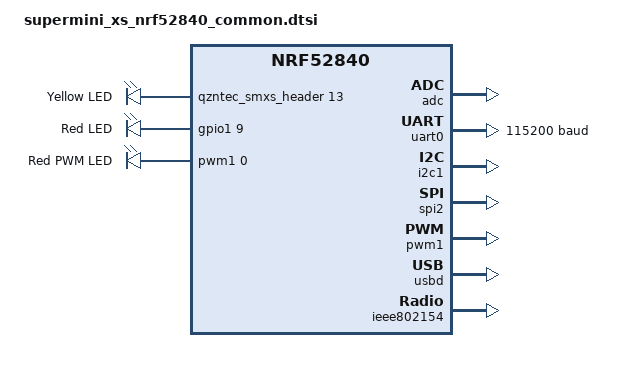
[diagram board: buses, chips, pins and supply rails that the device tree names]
/*
 * Copyright (c) 2024 JensB
 * Copyright (c) 2020 Jefferson Lee
 * SPDX-License-Identifier: Apache-2.0
 */

#include <nordic/nrf52840_qiaa.dtsi>
#include "supermini_xs_nrf52840_pinctrl.dtsi"
#include "supermini_xs_nrf52840_connector.dtsi"

/ {
	chosen {
		zephyr,console = &uart0;
		zephyr,shell-uart = &uart0;
		zephyr,uart-mcumgr = &uart0;
		zephyr,bt-mon-uart = &uart0;
		zephyr,bt-c2h-uart = &uart0;
		zephyr,sram = &sram0;
		zephyr,flash = &flash0;
		zephyr,code-partition = &code_partition;
		zephyr,ieee802154 = &ieee802154;
	};

	leds {
		compatible = "gpio-leds";
		led0: led_0 {
			/* Cannot be used together with SPI2. */
			gpios = <&qzntec_smxs_header 13 0>;
			label = "Yellow LED";
		};
		led1: led_1 {
			gpios = <&gpio1 9 GPIO_ACTIVE_HIGH>;
			label = "Red LED";
		};
	};

	pwmleds {
		compatible = "pwm-leds";
		red_pwm_led: led_pwm_1 {
			pwms = <&pwm1 0 PWM_MSEC(20) PWM_POLARITY_INVERTED>;
			label = "Red PWM LED";
		};
	};

	pwmleds2 {
		compatible = "pwm-leds";
		/* Cannot be used together with SPI2. */
		status = "disabled";
		yellow_pwm_led: led_pwm_0 {
			pwms = <&pwm0 0 PWM_MSEC(20) PWM_POLARITY_NORMAL>;
			label = "Yellow PWM LED";
		};
	};

	/* These aliases are provided for compatibility with samples */
	aliases {
		led0 = &led0;
		led1 = &led1;
		pwm-led0 = &yellow_pwm_led;
		pwm-led1 = &red_pwm_led;
		red-pwm-led = &red_pwm_led;
		bootloader-led0 = &led0;
		mcuboot-led0 = &led0;
		spi = &spi2;
		watchdog0 = &wdt0;
	};
};

&flash0 {
	partitions {
		compatible = "fixed-partitions";
		#address-cells = <1>;
		#size-cells = <1>;

		boot_partition: partition@0 {
			label = "sam-ba";
			reg = <0x00000000 0x0000ffff>;
			read-only;
		};

		code_partition: partition@10000 {
			label = "code";
			reg = <0x00010000 0x000e8000>;
			read-only;
		};

		/*
		 * The flash starting at 0x000f8000 and ending at
		 * 0x000fffff is reserved for use by the application.
		 *
		 * Storage partition will be used by FCB/LittleFS/NVS
		 * if enabled.
		 */
		 storage_partition: partition@f8000 {
			label = "storage";
			reg = <0x000f8000 0x000fffff>;
		};
	};
};

&adc {
	status = "okay";
};

&uart0 {
	compatible = "nordic,nrf-uarte";
	status = "okay";
	current-speed = <115200>;
	pinctrl-0 = <&uart0_default>;
	pinctrl-1 = <&uart0_sleep>;
	pinctrl-names = "default", "sleep";
};

&i2c1 {
	compatible = "nordic,nrf-twi";
	/* Cannot be used together with SPI1. */
	status = "okay";
	pinctrl-0 = <&i2c1_default>;
	pinctrl-1 = <&i2c1_sleep>;
	pinctrl-names = "default", "sleep";
};

&spi2 {
	compatible = "nordic,nrf-spi";
	/* SPI2 is used because SPI1/0 conflicts with I2C1/0. */
	status = "okay";
	pinctrl-0 = <&spi2_default>;
	pinctrl-1 = <&spi2_sleep>;
	pinctrl-names = "default", "sleep";
};

&uicr {
	gpio-as-nreset;
};

&gpio0 {
	status = "okay";
};

&gpio1 {
	status = "okay";
};

&gpiote {
	status = "okay";
};

&pwm0 {
	/* Cannot be used together with SPI2 because of conflict on P0.13. */
	status = "disabled";
	pinctrl-0 = <&pwm0_default>;
	pinctrl-1 = <&pwm0_sleep>;
	pinctrl-names = "default", "sleep";
};

&pwm1 {
	status = "okay";
	pinctrl-0 = <&pwm1_default>;
	pinctrl-1 = <&pwm1_sleep>;
	pinctrl-names = "default", "sleep";
};

zephyr_udc0: &usbd {
	compatible = "nordic,nrf-usbd";
	status = "okay";
	usb_cdc_acm_uart: cdc-acm-uart {
		compatible = "zephyr,cdc-acm-uart";
	};
};

&ieee802154 {
	status = "okay";
};
